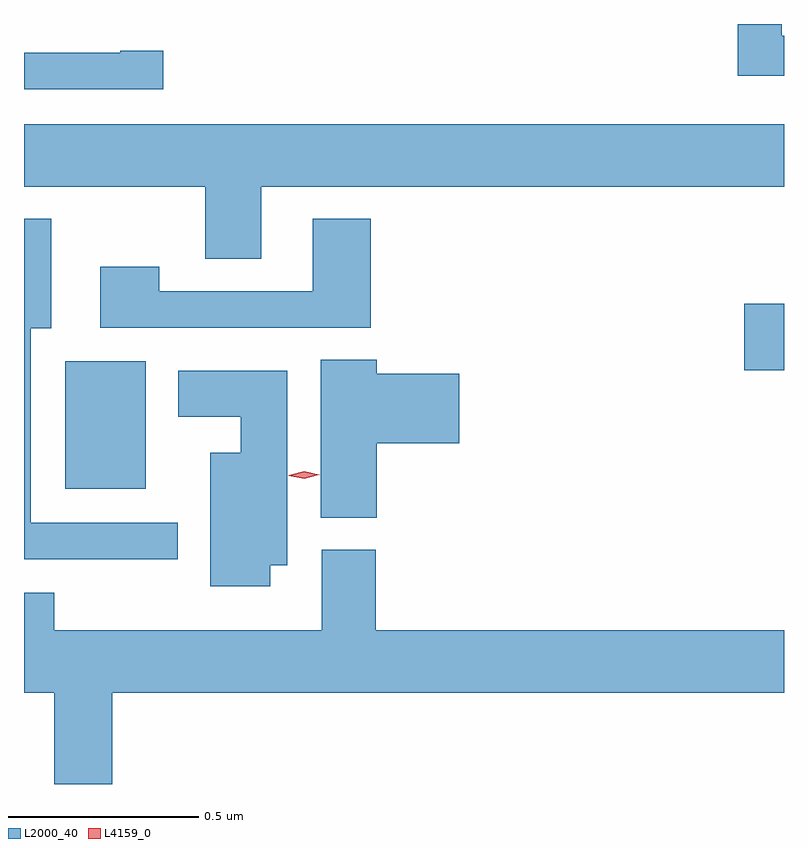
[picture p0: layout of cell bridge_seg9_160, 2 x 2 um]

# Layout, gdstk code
import gdstk
lib = gdstk.Library(unit=1e-6, precision=1e-09)
def R(c, l, rs):  # rectangles x0, y0, x1, y1
    for r in rs: c.add(gdstk.rectangle(r[:2], r[2:], *l))
def P(c, l, *ps):  # polygons
    for p in ps: c.add(gdstk.Polygon(p, *l))
L2000_40 = (2000, 40)
L4159_0 = (4159, 0)

bridge_seg9_160 = lib.new_cell('bridge_seg9_160')
R(bridge_seg9_160, L2000_40, [(328.514,1236.917,328.726,1237.252), (330.3,1237.229,330.405,1237.404)])
P(bridge_seg9_160, L2000_40, [(330.405,1238.109),(330.399,1238.109),(330.399,1238.14),(330.283,1238.14),(330.283,1238.004),(330.405,1238.004)],
  [(328.771,1238.069),(328.658,1238.069),(328.658,1238.064),(328.405,1238.064),(328.405,1237.968),(328.771,1237.968)],
  [(329.029,1237.712),(330.405,1237.712),(330.405,1237.876),(328.405,1237.876),(328.405,1237.712),(328.882,1237.712),(328.882,1237.522),(329.029,1237.522)],
  [(329.318,1237.627),(329.165,1237.627),(329.165,1237.437),(328.761,1237.437),(328.761,1237.501),(328.605,1237.501),(328.605,1237.341),(329.318,1237.341)],
  [(328.81,1236.828),(328.423,1236.828),(328.423,1237.34),(328.477,1237.34),(328.477,1237.627),(328.405,1237.627),(328.405,1236.731),(328.81,1236.731)],
  [(329.333,1237.037),(329.551,1237.037),(329.551,1237.22),(329.333,1237.22),(329.333,1237.256),(329.186,1237.256),(329.186,1236.841),(329.333,1236.841)],
  [(329.053,1236.716),(329.098,1236.716),(329.098,1237.228),(328.811,1237.228),(328.811,1237.106),(328.976,1237.106),(328.976,1237.012),(328.895,1237.012),(328.895,1236.66),(329.053,1236.66)],
  [(329.189,1236.756),(329.189,1236.544),(328.485,1236.544),(328.485,1236.643),(328.405,1236.643),(328.405,1236.38),(328.484,1236.38),(328.484,1236.14),(328.637,1236.14),(328.637,1236.38),(330.405,1236.38),(330.405,1236.544),(329.33,1236.544),(329.33,1236.756)])
P(bridge_seg9_160, L4159_0, [(329.143,1236.943),(329.102,1236.951),(329.102,1236.952),(329.102,1236.952),(329.142,1236.963),(329.182,1236.954),(329.183,1236.954),(329.182,1236.954)])

lib.write_gds('bridge_seg9_160.gds')
